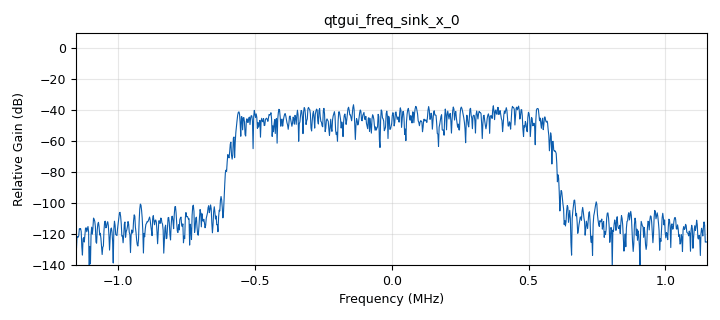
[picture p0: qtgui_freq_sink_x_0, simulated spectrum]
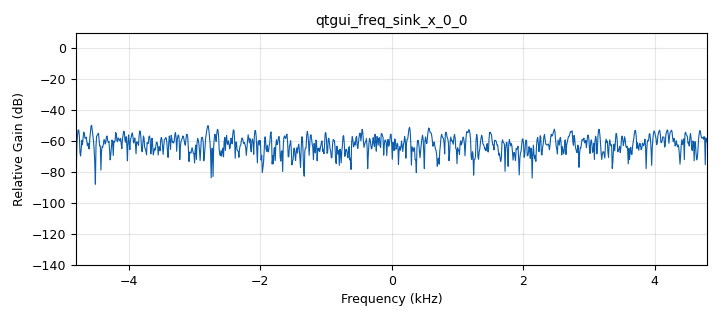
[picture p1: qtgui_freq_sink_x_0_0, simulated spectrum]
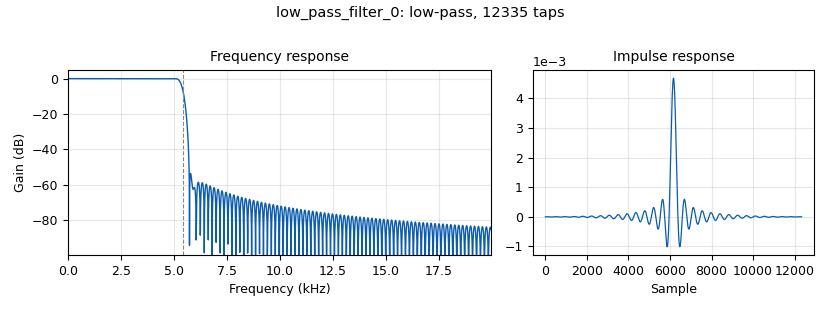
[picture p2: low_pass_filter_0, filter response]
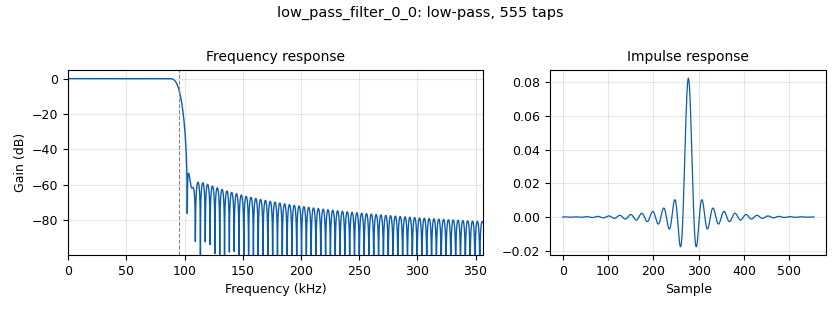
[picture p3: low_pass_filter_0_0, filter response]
options:
  parameters:
    category: Custom
    description: Decode transmission from radiosonde and store frames in file on disc
    generate_options: qt_gui
    id: rstt_rx
    output_language: python
    title: RSTT - frame recorder
  states: {}

blocks:
- name: dec_low_pass
  id: variable
  parameters:
    value: '240'
  states: {}
- name: dec_tune
  id: variable
  parameters:
    value: '30'
  states: {}
- name: dec_xlate
  id: variable
  parameters:
    value: '1'
  states: {}
- name: enable_tune_ppm_checkbox
  id: variable_qtgui_check_box
  parameters:
    'false': '0'
    gui_hint: tabs@3
    'true': '1'
    type: int
    value: 'False'
  states: {}
- name: freq
  id: variable
  parameters:
    value: 400000000+freq_tune
  states: {}
- name: freq_correction
  id: variable
  parameters:
    value: min(freq_correction_max, freq_correction_raw) if freq_correction_raw > 0  else max(freq_correction_raw, -freq_correction_max)
  states: {state: disabled}
- name: freq_correction_max
  id: variable
  parameters:
    value: '5000'
  states: {state: disabled}
- name: freq_correction_raw
  id: variable
  parameters:
    value: freq_err+freq_err_loop_back
  states: {state: disabled}
- name: freq_err
  id: variable_function_probe
  parameters:
    block_id: freq_err_probe
    function_name: level
    poll_rate: '1'
    value: '0'
  states: {state: disabled}
- name: freq_err_loop_back
  id: variable_function_probe
  parameters:
    block_id: 'get_freq_correction() #'
    function_name: ''
    poll_rate: '1'
    value: '12'
  states: {state: disabled}
- name: freq_err_loop_back_0
  id: variable_function_probe
  parameters:
    block_id: get_freq_correction()
    function_name: ''
    poll_rate: '1'
    value: '12'
  states: {state: disabled}
- name: freq_err_loop_back_1_0
  id: variable_function_probe
  parameters:
    block_id: 'set_freq_ppm(self.get_freq_ppm()+self.get_freq_ppm_var1()) #'
    function_name: _update
    poll_rate: '0.2'
    value: '0'
  states: {state: disabled}
- name: freq_offs
  id: variable
  parameters:
    value: '-750000'
  states: {}
- name: freq_ppm
  id: variable_qtgui_range
  parameters:
    gui_hint: tabs@3
    orient: Qt.Horizontal
    start: '-200'
    step: '1'
    stop: '200'
    value: '0'
  states: {}
- name: freq_ppm_step
  id: variable
  parameters:
    value: 2*enable_tune_ppm_checkbox
  states: {state: disabled}
- name: freq_ppm_var1
  id: variable
  parameters:
    value: '-freq_ppm_step if freq_correction > freq_correction_max/2 else freq_ppm_step if freq_correction < -freq_correction_max/2 else 0'
  states: {state: disabled}
- name: freq_tune
  id: variable_qtgui_range
  parameters:
    orient: Qt.Horizontal
    start: '0'
    step: '1000'
    stop: '4000000'
    value: '2669000'
  states: {}
- name: oversample
  id: variable
  parameters:
    value: '2'
  states: {}
- name: rf_gain
  id: variable_qtgui_range
  parameters:
    gui_hint: tabs@3
    orient: Qt.Horizontal
    start: '-40'
    step: '1'
    stop: '160'
    value: '20'
  states: {}
- name: rf_gain_auto
  id: variable_qtgui_check_box
  parameters:
    'false': 'False'
    gui_hint: tabs@3
    'true': 'True'
    type: int
    value: 'True'
  states: {}
- name: samp_rate
  id: variable
  parameters:
    value: symb_rate*oversample*dec_xlate*dec_low_pass
  states: {}
- name: symb_rate
  id: variable
  parameters:
    value: '4800'
  states: {}
- name: analog_noise_source_x_0
  id: analog_noise_source_x
  parameters:
    amp: '1'
    noise_type: analog.GR_GAUSSIAN
    seed: '0'
    type: complex
  states: {}
- name: analog_quadrature_demod_cf_0
  id: analog_quadrature_demod_cf
  parameters:
    gain: samp_rate/dec_xlate/dec_tune/(2*math.pi*4800)
  states: {}
- name: blocks_integrate_xx_0
  id: blocks_integrate_xx
  parameters:
    decim: int(samp_rate/dec_xlate/dec_tune)
    type: float
  states: {}
- name: blocks_multiply_const_vxx_0
  id: blocks_multiply_const_vxx
  parameters:
    const: '0.05'
    type: float
  states: {}
- name: blocks_throttle_0
  id: blocks_throttle
  parameters:
    samples_per_second: samp_rate
    type: complex
  states: {}
- name: digital_gmsk_demod_0
  id: digital_gmsk_demod
  parameters:
    freq_error: '0.0'
    gain_mu: '0.1'
    mu: '0.5'
    omega_relative_limit: '0.005'
    samples_per_symbol: oversample
  states: {}
- name: freq_err_probe
  id: blocks_probe_signal_x
  parameters:
    type: float
  states: {}
- name: freq_xlating_fir_filter_xxx_0
  id: freq_xlating_fir_filter_xxx
  parameters:
    center_freq: '0'
    decim: dec_xlate
    samp_rate: samp_rate
    taps: '1'
    type: ccc
  states: {}
- name: import_0
  id: import
  parameters:
    imports: import time
  states: {}
- name: import_0_0
  id: import
  parameters:
    imports: from datetime import datetime
  states: {}
- name: low_pass_filter_0
  id: low_pass_filter
  parameters:
    cutoff_freq: '5400'
    decim: dec_low_pass
    gain: '1'
    samp_rate: samp_rate/dec_xlate
    type: fir_filter_ccf
    width: '450'
    win: firdes.WIN_HAMMING
  states: {}
- name: low_pass_filter_0_0
  id: low_pass_filter
  parameters:
    cutoff_freq: '95000'
    decim: '6'
    gain: '1'
    samp_rate: samp_rate/dec_xlate
    type: fir_filter_ccf
    width: '10000'
    win: firdes.WIN_HAMMING
  states: {}
- name: osmosdr_source_0
  id: osmosdr_source
  parameters:
    args: ''
    bb_gain0: '0'
    corr0: freq_ppm
    dc_offset_mode0: '2'
    freq0: freq-freq_offs
    gain0: rf_gain
    gain_mode0: rf_gain_auto
    if_gain0: '0'
    iq_balance_mode0: '2'
    sample_rate: samp_rate
    sync: ''
    type: fc32
  states: {state: disabled}
- name: pfb_decimator_ccf_0
  id: pfb_decimator_ccf
  parameters:
    atten: '100'
    channel: '0'
    decim: '15'
    taps: '[1]'
  states: {}
- name: qtgui_freq_sink_x_0
  id: qtgui_freq_sink_x
  parameters:
    bw: samp_rate/dec_xlate
    fc: '0'
    fftsize: '1024'
    gui_hint: tabs@1
    showports: 'True'
    type: complex
    wintype: firdes.WIN_BLACKMAN_hARRIS
  states: {}
- name: qtgui_freq_sink_x_0_0
  id: qtgui_freq_sink_x
  parameters:
    bw: samp_rate/dec_xlate/dec_low_pass
    fc: '0'
    fftsize: '1024'
    gui_hint: tabs@0
    showports: 'True'
    type: complex
    wintype: firdes.WIN_BLACKMAN_hARRIS
  states: {}
- name: qtgui_number_sink_0
  id: qtgui_number_sink
  parameters:
    graph_type: qtgui.NUM_GRAPH_HORIZ
    gui_hint: tabs@2
    type: float
  states: {}
- name: rstt_decoder_0
  id: rstt_decoder
  parameters:
    drop_invalid: 'True'
    guess_level: '8'
    sync_nbits: 20*10
    sync_nbytes: '32'
  states: {}
- name: rstt_panel_0
  id: rstt_panel
  parameters: {}
  states: {}
- name: tabs
  id: qtgui_tab_widget
  parameters:
    label0: Channel
    label1: Baseband
    label2: Number
    label3: Config
    num_tabs: '4'
  states: {}
- name: virtual_sink_0
  id: virtual_sink
  parameters:
    stream_id: xlated
  states: {}
- name: virtual_source_0
  id: virtual_source
  parameters:
    stream_id: xlated
  states: {}

connections:
- [analog_noise_source_x_0, '0', blocks_throttle_0, '0']
- [analog_quadrature_demod_cf_0, '0', blocks_integrate_xx_0, '0']
- [blocks_integrate_xx_0, '0', blocks_multiply_const_vxx_0, '0']
- [blocks_multiply_const_vxx_0, '0', freq_err_probe, '0']
- [blocks_multiply_const_vxx_0, '0', qtgui_number_sink_0, '0']
- [blocks_throttle_0, '0', freq_xlating_fir_filter_xxx_0, '0']
- [digital_gmsk_demod_0, '0', rstt_decoder_0, '0']
- [freq_xlating_fir_filter_xxx_0, '0', low_pass_filter_0, '0']
- [freq_xlating_fir_filter_xxx_0, '0', pfb_decimator_ccf_0, '0']
- [freq_xlating_fir_filter_xxx_0, '0', virtual_sink_0, '0']
- [low_pass_filter_0, '0', digital_gmsk_demod_0, '0']
- [low_pass_filter_0, '0', qtgui_freq_sink_x_0_0, '0']
- [low_pass_filter_0_0, '0', qtgui_freq_sink_x_0, '0']
- [osmosdr_source_0, '0', freq_xlating_fir_filter_xxx_0, '0']
- [pfb_decimator_ccf_0, '0', analog_quadrature_demod_cf_0, '0']
- [rstt_decoder_0, '0', rstt_panel_0, '0']
- [virtual_source_0, '0', low_pass_filter_0_0, '0']

metadata:
  file_format: 1
